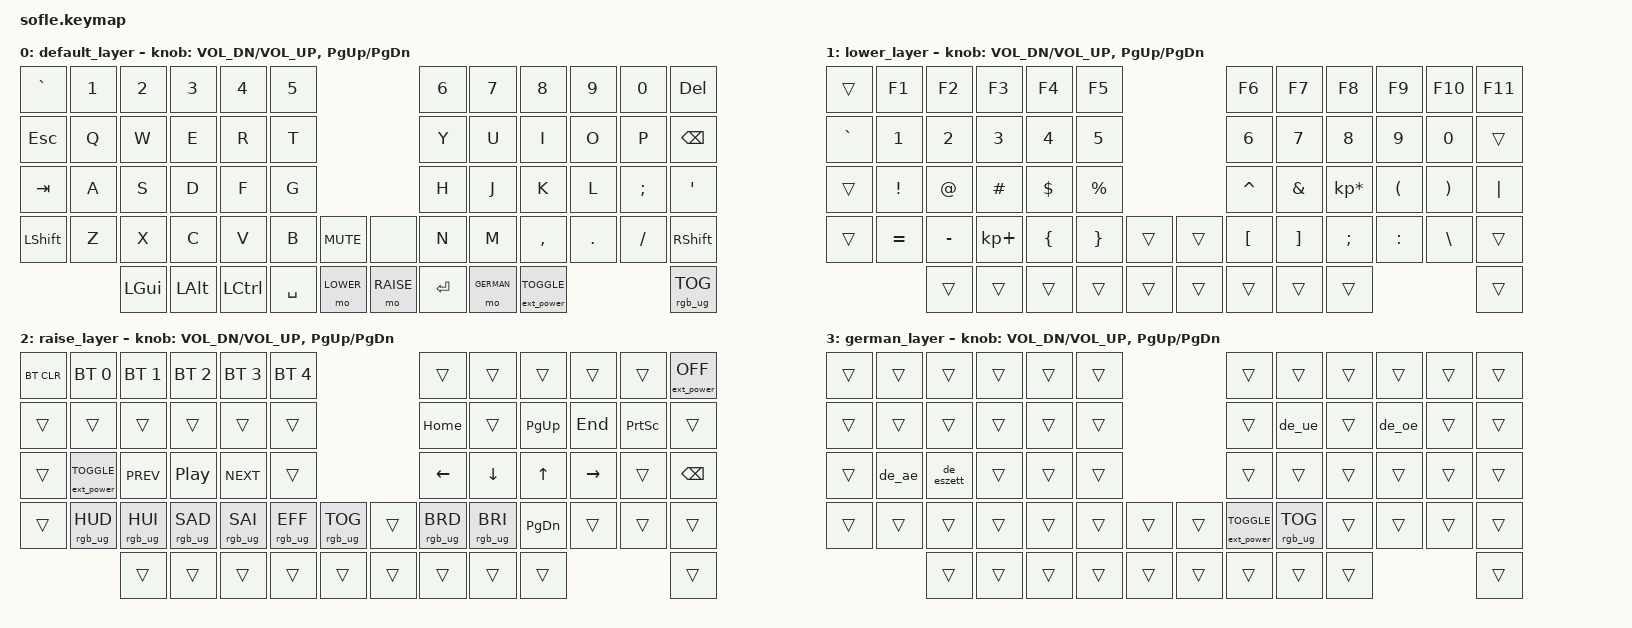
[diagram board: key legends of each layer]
/*
 * Copyright (c) 2020 The ZMK Contributors
 *
 * SPDX-License-Identifier: MIT
 */

#include <behaviors.dtsi>
#include <dt-bindings/zmk/keys.h>
#include <dt-bindings/zmk/bt.h>

// Power functions
#include <dt-bindings/zmk/ext_power.h>

// RGB
#include <dt-bindings/zmk/rgb.h>

// German chars oh ja!
#define HOST_OS 0  // set to 0 for WindowsCompose
#include "../zmk-nodefree-config/helper.h"
#include "../zmk-nodefree-config/international_chars/german.dtsi"

#define DEFAULT 0
#define LOWER   1
#define RAISE   2
#define GERMAN  3


/ {
    keymap {
        compatible = "zmk,keymap";

        default_layer {
            bindings = <
//  |-----------------------------------------------------------------------------------------------------------------------------------------------------------------------|
//  |   `       |   1       |   2       |   3       |   4       |   5       (           |           )   6       |   7       |   8       |   9       |   0       | DEL       |
    &kp GRAVE   &kp N1      &kp N2      &kp N3      &kp N4      &kp N5                              &kp N6      &kp N7      &kp N8      &kp N9      &kp N0      &kp DEL
//  |-----------------------------------------------------------------------------------------------------------------------------------------------------------------------|
//  |  ESC      |   Q       |   W       |   E       |   R       |   T       (           |           )   Y       |   U       |   I       |   O       |   P       |  <--      |
    &kp ESC     &kp Q       &kp W       &kp E       &kp R       &kp T                               &kp Y       &kp U       &kp I       &kp O       &kp P       &kp BSPC
//  |-----------------------------------------------------------------------------------------------------------------------------------------------------------------------|
//  |  TAB      |   A       |   S       |   D       |   F       |   G       (           |           )   H       |   J       |   K       |   L       |   ;       |   '       |
    &kp TAB     &kp A       &kp S       &kp D       &kp F       &kp G                               &kp H       &kp J       &kp K       &kp L       &kp SEMI    &kp SQT
//  |-----------------------------------------------------------------------------------------------------------------------------------------------------------------------|
//  | SHIFT     |   Z       |   X       |   C       |   V       |   B       ( MUTE      |           )   N       |   M       |   ,       |   .       |   /       | SHIFT     |
    &kp LSHFT   &kp Z       &kp X       &kp C       &kp V       &kp B       &kp C_MUTE  &none       &kp N       &kp M       &kp COMMA   &kp DOT     &kp FSLH    &kp RSHFT
//  |-----------------------------------------------------------------------------------------------------------------------------------------------------------------------|
//                          |  GUI      |  ALT      | CTRL      | SPACE     | LOWER     | RAISE     | ENTER     |           | RCTRL          |           |                
                            &kp LGUI    &kp LALT    &kp LCTRL   &kp SPACE   &mo LOWER   &mo RAISE   &kp RET     &mo GERMAN  &ext_power EXT_POWER_TOGGLE_CMD		&rgb_ug RGB_TOG
            >;

            sensor-bindings = <&inc_dec_kp C_VOL_DN C_VOL_UP &inc_dec_kp PG_UP PG_DN>;
        };

// TODO: Some binds are waiting for shifted keycode support.
        lower_layer {
            bindings = <
//  |-----------------------------------------------------------------------------------------------------------------------------------------------------------------------|
//  |           |  F1       |  F2       |  F3       |  F4       |  F5       (           |           )  F6       |  F7       |  F8       |  F9       |  F10      |  F11      |
    &trans      &kp F1      &kp F2      &kp F3      &kp F4      &kp F5                              &kp F6      &kp F7      &kp F8      &kp F9      &kp F10     &kp F11
//  |-----------------------------------------------------------------------------------------------------------------------------------------------------------------------|
//  | `         |   1       |   2       |   3       |   4       |   5       (           |           )   6       |   7       |   8       |   9       |    0      |           |
    &kp GRAVE   &kp N1      &kp N2      &kp N3      &kp N4      &kp N5                              &kp N6      &kp N7      &kp N8      &kp N9      &kp N0      &trans 
//  |-----------------------------------------------------------------------------------------------------------------------------------------------------------------------|
//  |           |  !        |  @        |  #        |  $        |  %        (           |           )  ^        |  &        |  *        |  (        |   )       |   |       |
    &trans      &kp EXCL    &kp AT      &kp HASH    &kp DLLR    &kp PRCNT                           &kp CARET   &kp AMPS  &kp KP_MULTIPLY &kp LPAR  &kp RPAR    &kp PIPE
//  |-----------------------------------------------------------------------------------------------------------------------------------------------------------------------|
//  |           |  =        |  -        |  +        |  {        |  }        (           |           )  [        |  ]        |  ;        |  :        |   \       |           |
    &trans      &kp EQUAL   &kp MINUS   &kp KP_PLUS &kp LBRC    &kp RBRC    &trans      &trans      &kp LBKT    &kp RBKT    &kp SEMI    &kp COLON   &kp BSLH    &trans
//  |-----------------------------------------------------------------------------------------------------------------------------------------------------------------------|
//                          |           |           |           |           |           |           |           |           |           |           |
                            &trans      &trans      &trans      &trans      &trans      &trans      &trans      &trans      &trans      &trans
            >;

            sensor-bindings = <&inc_dec_kp C_VOL_DN C_VOL_UP &inc_dec_kp PG_UP PG_DN>;
        };

         raise_layer {
            bindings = <
//  |-----------------------------------------------------------------------------------------------------------------------------------------------------------------------|
//  |BTCLR      | BT1       | BT2       |  BT3      |  BT4      |  BT5      (           |           )           |           |           |           |           | POWER OFF |
    &bt BT_CLR  &bt BT_SEL 0 &bt BT_SEL 1 &bt BT_SEL 2 &bt BT_SEL 3 &bt BT_SEL 4                    &trans      &trans      &trans      &trans      &trans      &ext_power EP_OFF
//  |-----------------------------------------------------------------------------------------------------------------------------------------------------------------------|
//  |           |           |           |           |           |           (           |           ) POS1      |           | PAGEUP    | END       | PRINTSCRN |           |
    &trans      &trans      &trans 		&trans 		&trans		&trans                              &kp HOME    &trans      &kp PG_UP   &kp END     &kp PSCRN   &trans
//  |-----------------------------------------------------------------------------------------------------------------------------------------------------------------------|
//  |           |           |PREV TRACK |PLAY/PAUSE |NEXT TRACK |           (           |           ) <-        |   v       |   ^       |  ->       |           | BKSPC     |
    &trans      &ext_power EXT_POWER_TOGGLE_CMD      &kp C_PREV  &kp C_PP    &kp C_NEXT  &trans                              &kp LEFT    &kp DOWN    &kp UP      &kp RIGHT   &trans      &kp BSPC
//  |-----------------------------------------------------------------------------------------------------------------------------------------------------------------------|
//  |                                |               |               |               |               |                   (                    |           )               |                   | PAGEDOWN  |           |          |           |
    &trans  &rgb_ug RGB_HUD &rgb_ug RGB_HUI &rgb_ug RGB_SAD &rgb_ug RGB_SAI &rgb_ug RGB_EFF     &rgb_ug RGB_TOG      &trans      &rgb_ug RGB_BRD &rgb_ug RGB_BRI      &kp PG_DN   &trans      &trans      &trans
//  |-----------------------------------------------------------------------------------------------------------------------------------------------------------------------|
//                          |           |           |           |           (           |           )           |           |           |           |
                            &trans      &trans      &trans      &trans      &trans      &trans      &trans      &trans      &trans      &trans
            >;

            sensor-bindings = <&inc_dec_kp C_VOL_DN C_VOL_UP &inc_dec_kp PG_UP PG_DN>;
        };

        german_layer {
            bindings = <
//  |-----------------------------------------------------------------------------------------------------------------------------------------------------------------------|
//  |           |           |           |           |           |           (           |           )           |           |           |           |          |            |
    &trans      &trans      &trans      &trans      &trans      &trans                              &trans      &trans      &trans		&trans      &trans      &trans
//  |-----------------------------------------------------------------------------------------------------------------------------------------------------------------------|
//  |           |           |           |           |           |           (           |           )           |     Ü     |           |     Ö     |          |            |
    &trans      &trans 		&trans  	&trans      &trans      &trans                              &trans      &de_ue		&trans		&de_oe		&trans      &trans
//  |-----------------------------------------------------------------------------------------------------------------------------------------------------------------------|
//  |           |     Ä     |     ß     |           |           |           (           |           )           |           |           |           |          |            |
    &trans      &de_ae      &de_eszett  &trans      &trans      &trans                              &trans      &trans      &trans		&trans      &trans      &trans
//  |-----------------------------------------------------------------------------------------------------------------------------------------------------------------------|
//  |           |           |           |           |           |           (           |           )           |           |           |           |          |            |
    &trans      &trans      &trans      &trans      &trans      &trans      &trans      &trans      &ext_power EXT_POWER_TOGGLE_CMD      &rgb_ug RGB_TOG      &trans		&trans      &trans      &trans
//  |-----------------------------------------------------------------------------------------------------------------------------------------------------------------------|
//                          |           |           |           |           (           |           )           |           |           |           |
                            &trans      &trans      &trans      &trans      &trans      &trans      &trans      &trans      &trans      &trans
            >;

            sensor-bindings = <&inc_dec_kp C_VOL_DN C_VOL_UP &inc_dec_kp PG_UP PG_DN>;
        };
    };
};
